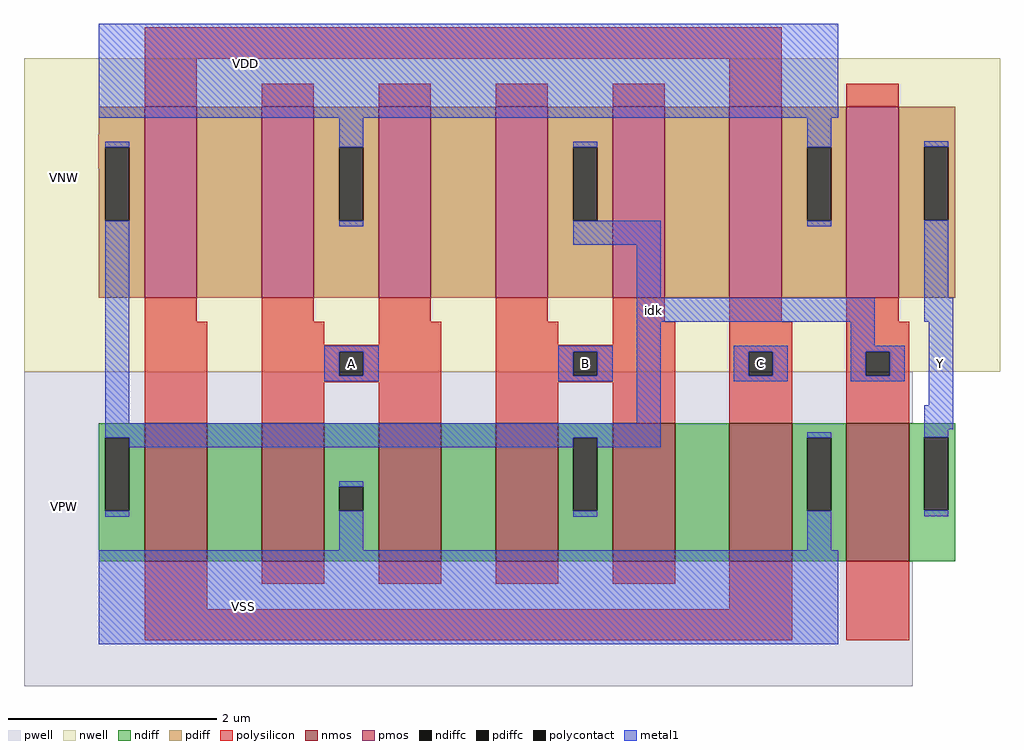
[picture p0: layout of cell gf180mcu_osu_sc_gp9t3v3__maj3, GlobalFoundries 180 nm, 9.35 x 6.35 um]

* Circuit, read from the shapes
.subckt gf180mcu_osu_sc_gp9t3v3__maj3 A B C Y VDD VNW VPW VSS
XM1 n1 C idk VPW nfet_03v3 w=1.32u l=0.6u
XM2 VSS A n1 VPW nfet_03v3 w=1.32u l=0.6u
XM3 n2 A VSS VPW nfet_03v3 w=1.32u l=0.6u
XM4 idk B n2 VPW nfet_03v3 w=1.32u l=0.6u
XM5 n3 B idk VPW nfet_03v3 w=1.32u l=0.6u
XM6 VSS C n3 VPW nfet_03v3 w=1.32u l=0.6u
XM7 Y idk VSS VPW nfet_03v3 w=1.32u l=0.6u
XM8 n4 C idk VNW pfet_03v3 w=1.83u l=0.5u
XM9 VDD A n4 VNW pfet_03v3 w=1.83u l=0.5u
XM10 n5 A VDD VNW pfet_03v3 w=1.83u l=0.5u
XM11 idk B n5 VNW pfet_03v3 w=1.83u l=0.5u
XM12 n6 B idk VNW pfet_03v3 w=1.83u l=0.5u
XM13 VDD C n6 VNW pfet_03v3 w=1.83u l=0.5u
XM14 Y idk VDD VNW pfet_03v3 w=1.83u l=0.5u
.ends

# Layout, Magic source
magic
tech gf180mcuD
magscale 1 10
<< nwell >>
rect -145 362 1724 963
<< pwell >>
rect -145 264 1557 362
rect -145 0 1550 264
rect -145 -240 1557 0
<< nmos >>
rect 86 0 206 264
rect 310 0 430 264
rect 534 0 654 264
rect 758 0 878 264
rect 982 0 1102 264
rect 1206 0 1326 264
rect 1430 0 1550 264
<< pmos >>
rect 86 504 186 870
rect 310 504 410 870
rect 534 504 634 870
rect 758 504 858 870
rect 982 504 1082 870
rect 1206 504 1306 870
rect 1430 504 1530 870
<< ndiff >>
rect -2 236 86 264
rect -2 96 11 236
rect 57 96 86 236
rect -2 0 86 96
rect 206 0 310 264
rect 430 142 534 264
rect 430 96 459 142
rect 505 96 534 142
rect 430 0 534 96
rect 654 0 758 264
rect 878 236 982 264
rect 878 96 907 236
rect 953 96 982 236
rect 878 0 982 96
rect 1102 0 1206 264
rect 1326 236 1430 264
rect 1326 96 1355 236
rect 1401 96 1430 236
rect 1326 0 1430 96
rect 1550 237 1638 264
rect 1550 97 1579 237
rect 1625 97 1638 237
rect 1550 0 1638 97
<< pdiff >>
rect -2 816 86 870
rect -3 792 86 816
rect -3 752 11 792
rect -2 652 11 752
rect 57 652 86 792
rect -2 504 86 652
rect 186 504 310 870
rect 410 792 534 870
rect 410 652 459 792
rect 505 652 534 792
rect 410 504 534 652
rect 634 504 758 870
rect 858 792 982 870
rect 858 652 907 792
rect 953 652 982 792
rect 858 504 982 652
rect 1082 504 1206 870
rect 1306 792 1430 870
rect 1306 652 1355 792
rect 1401 652 1430 792
rect 1306 504 1430 652
rect 1530 793 1638 870
rect 1530 653 1579 793
rect 1625 653 1638 793
rect 1530 504 1638 653
<< ndiffc >>
rect 11 96 57 236
rect 459 96 505 142
rect 907 96 953 236
rect 1355 96 1401 236
rect 1579 97 1625 237
<< pdiffc >>
rect 11 652 57 792
rect 459 652 505 792
rect 907 652 953 792
rect 1355 652 1401 792
rect 1579 653 1625 793
<< polysilicon >>
rect 86 962 1306 1022
rect 86 870 186 962
rect 310 870 410 914
rect 534 870 634 914
rect 758 870 858 914
rect 982 870 1082 914
rect 1206 870 1306 962
rect 1430 870 1530 914
rect 86 458 186 504
rect 310 458 410 504
rect 534 458 634 504
rect 758 458 858 504
rect 982 458 1082 504
rect 1206 458 1306 504
rect 1430 458 1530 504
rect 86 264 206 458
rect 310 414 430 458
rect 534 414 654 458
rect 310 401 654 414
rect 310 355 459 401
rect 505 355 654 401
rect 310 342 654 355
rect 310 264 430 342
rect 534 264 654 342
rect 758 414 878 458
rect 982 414 1102 458
rect 758 401 1102 414
rect 758 355 907 401
rect 953 355 1102 401
rect 758 342 1102 355
rect 758 264 878 342
rect 982 264 1102 342
rect 1206 401 1326 458
rect 1206 355 1243 401
rect 1289 355 1326 401
rect 1206 264 1326 355
rect 1430 401 1550 458
rect 1430 355 1467 401
rect 1513 355 1550 401
rect 1430 264 1550 355
rect 86 -92 206 0
rect 310 -44 430 0
rect 534 -44 654 0
rect 758 -44 878 0
rect 982 -44 1102 0
rect 1206 -92 1326 0
rect 86 -152 1326 -92
rect 1430 -152 1550 0
<< polycontact >>
rect 459 355 505 401
rect 907 355 953 401
rect 1243 355 1289 401
rect 1467 355 1513 401
<< metal1 >>
rect -2 849 1414 1029
rect 11 792 57 803
rect 11 264 57 652
rect 459 792 505 849
rect 459 641 505 652
rect 907 792 953 803
rect 1355 792 1401 849
rect 907 606 1074 652
rect 1355 641 1401 652
rect 1579 793 1625 804
rect 1028 504 1074 606
rect 1579 504 1625 653
rect 1028 458 1484 504
rect 1579 458 1634 504
rect 430 401 534 412
rect 430 355 459 401
rect 505 355 534 401
rect 430 344 534 355
rect 878 401 982 412
rect 878 355 907 401
rect 953 355 982 401
rect 878 344 982 355
rect 1028 264 1074 458
rect 1438 412 1484 458
rect 1214 401 1318 412
rect 1214 355 1243 401
rect 1289 355 1318 401
rect 1214 344 1318 355
rect 1438 401 1542 412
rect 1438 355 1467 401
rect 1513 355 1542 401
rect 1438 344 1542 355
rect 1588 298 1634 458
rect 11 236 1074 264
rect 1579 252 1634 298
rect 57 218 907 236
rect 11 85 57 96
rect 459 142 505 153
rect 459 21 505 96
rect 953 218 1074 236
rect 1355 236 1401 247
rect 907 85 953 96
rect 1355 21 1401 96
rect 1579 237 1625 252
rect 1579 86 1625 97
rect -2 -159 1414 21
<< labels >>
flabel metal1 430 344 534 412 1 FreeSans 192 0 0 0 A
port 1 n
flabel metal1 878 344 982 412 1 FreeSans 192 0 0 0 B
port 2 n
flabel metal1 242 924 316 980 1 FreeSans 192 0 0 0 VDD
port 5 n
flabel nwell -104 706 -30 762 1 FreeSans 192 0 0 0 VNW
port 6 n
flabel pwell -104 76 -30 132 1 FreeSans 192 0 0 0 VPW
port 7 n
flabel metal1 238 -116 312 -60 1 FreeSans 192 0 0 0 VSS
port 8 n
flabel metal1 1243 355 1289 401 1 FreeSans 96 0 0 0 C
port 3 n
flabel metal1 1588 355 1634 401 1 FreeSans 96 0 0 0 Y
port 4 n
flabel metal1 1041 465 1081 495 1 FreeSans 96 0 0 0 idk
<< end >>
